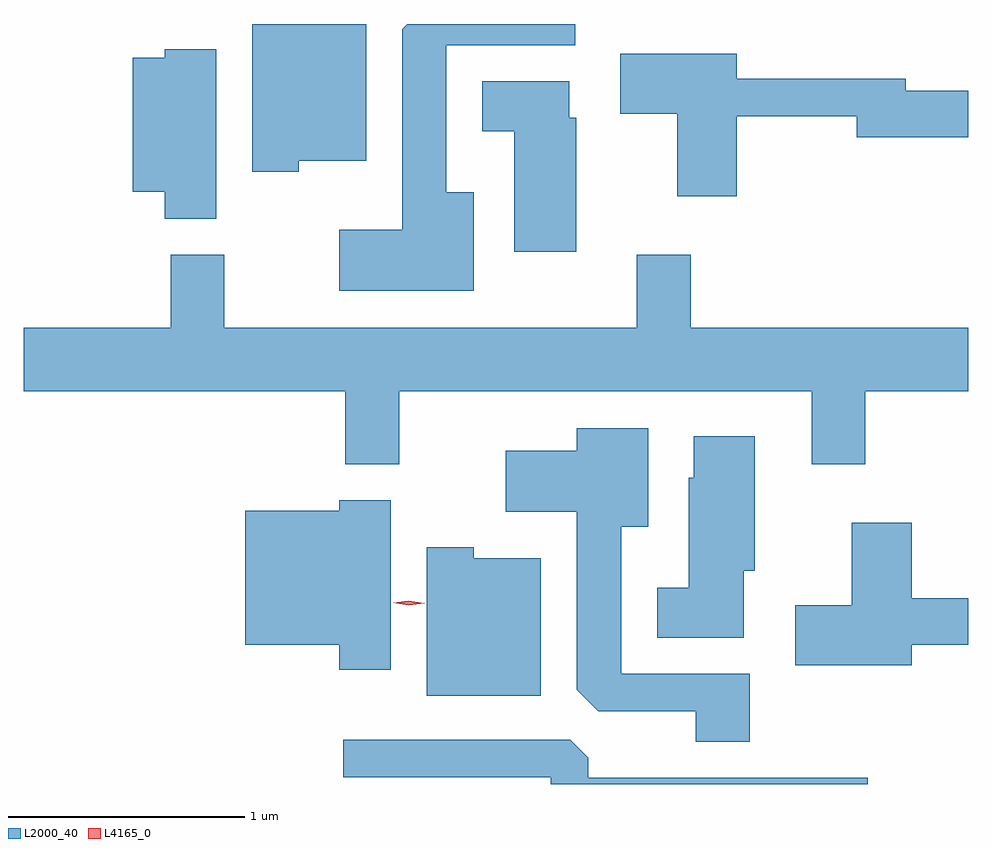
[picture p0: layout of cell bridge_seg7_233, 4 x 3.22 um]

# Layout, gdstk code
import gdstk
lib = gdstk.Library(unit=1e-6, precision=1e-09)
def P(c, l, *ps):  # polygons
    for p in ps: c.add(gdstk.Polygon(p, *l))
L2000_40 = (2000, 40)
L4165_0 = (4165, 0)

bridge_seg7_233 = lib.new_cell('bridge_seg7_233')
P(bridge_seg7_233, L2000_40, [(1815.744,1670.759),(1815.629,1670.759),(1815.629,1671.381),(1816.174,1671.381),(1816.174,1671.471),(1815.463,1671.471),(1815.441,1671.449),(1815.441,1670.599),(1815.176,1670.599),(1815.176,1670.341),(1815.744,1670.341)],
  [(1815.004,1670.891),(1815.289,1670.891),(1815.289,1671.471),(1814.806,1671.471),(1814.806,1670.846),(1815.004,1670.846)],
  [(1814.654,1671.364),(1814.436,1671.364),(1814.436,1671.329),(1814.301,1671.329),(1814.301,1670.761),(1814.436,1670.761),(1814.436,1670.646),(1814.654,1670.646)],
  [(1816.859,1671.081),(1817.366,1671.081),(1817.366,1670.991),(1817.839,1670.991),(1817.839,1671.189),(1817.574,1671.189),(1817.574,1671.239),(1816.859,1671.239),(1816.859,1671.344),(1816.366,1671.344),(1816.366,1671.091),(1816.606,1671.091),(1816.606,1670.741),(1816.859,1670.741)],
  [(1816.179,1671.074),(1816.149,1671.074),(1816.149,1671.229),(1815.781,1671.229),(1815.781,1671.016),(1815.916,1671.016),(1815.916,1670.506),(1816.179,1670.506)],
  [(1815.429,1669.916),(1817.176,1669.916),(1817.176,1669.606),(1817.404,1669.606),(1817.404,1669.916),(1817.839,1669.916),(1817.839,1670.184),(1816.664,1670.184),(1816.664,1670.494),(1816.436,1670.494),(1816.436,1670.184),(1814.689,1670.184),(1814.689,1670.494),(1814.461,1670.494),(1814.461,1670.184),(1813.839,1670.184),(1813.839,1669.916),(1815.201,1669.916),(1815.201,1669.606),(1815.429,1669.606)],
  [(1816.914,1668.719),(1816.369,1668.719),(1816.369,1669.341),(1816.484,1669.341),(1816.484,1669.759),(1816.181,1669.759),(1816.181,1669.664),(1815.881,1669.664),(1815.881,1669.406),(1816.181,1669.406),(1816.181,1668.652),(1816.272,1668.561),(1816.686,1668.561),(1816.686,1668.431),(1816.914,1668.431)],
  [(1816.889,1669.156),(1816.934,1669.156),(1816.934,1669.724),(1816.676,1669.724),(1816.676,1669.549),(1816.656,1669.549),(1816.656,1669.084),(1816.521,1669.084),(1816.521,1668.871),(1816.889,1668.871)],
  [(1815.394,1669.454),(1815.176,1669.454),(1815.176,1669.409),(1814.776,1669.409),(1814.776,1668.841),(1815.176,1668.841),(1815.176,1668.736),(1815.394,1668.736)],
  [(1817.599,1668.841),(1817.839,1668.841),(1817.839,1669.039),(1817.599,1669.039),(1817.599,1669.359),(1817.346,1669.359),(1817.346,1669.009),(1817.106,1669.009),(1817.106,1668.756),(1817.599,1668.756)],
  [(1816.029,1669.209),(1815.744,1669.209),(1815.744,1669.254),(1815.546,1669.254),(1815.546,1668.626),(1816.029,1668.626)],
  [(1817.413,1668.279),(1816.229,1668.279),(1816.229,1668.364),(1816.154,1668.439),(1815.193,1668.439),(1815.193,1668.281),(1816.071,1668.281),(1816.071,1668.252),(1817.413,1668.252)])
P(bridge_seg7_233, L4165_0, [(1815.47,1669.009),(1815.404,1669.02),(1815.404,1669.02),(1815.404,1669.02),(1815.47,1669.029),(1815.536,1669.018),(1815.537,1669.017),(1815.536,1669.017)])

lib.write_gds('bridge_seg7_233.gds')
